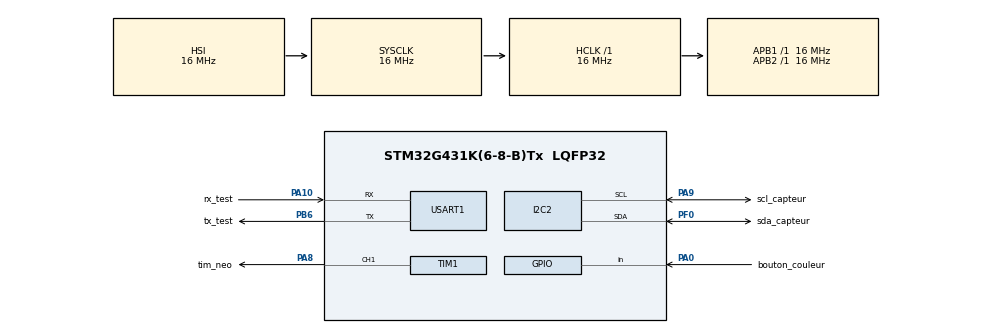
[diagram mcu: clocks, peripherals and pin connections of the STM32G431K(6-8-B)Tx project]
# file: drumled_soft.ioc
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I2C2.Timing=0x00503D58
Mcu.Family=STM32G4
Mcu.Name=STM32G431K(6-8-B)Tx
Mcu.Package=LQFP32
NVIC.PriorityGroup=NVIC_PRIORITYGROUP_4
PA0.GPIO_Label=bouton_couleur
PA0.Signal=GPIO_Input
PA10.GPIO_Label=rx_test
PA10.Mode=Asynchronous
PA10.Signal=USART1_RX
PA13.Mode=Serial_Wire
PA13.Signal=SYS_JTMS-SWDIO
PA14.Mode=Serial_Wire
PA14.Signal=SYS_JTCK-SWCLK
PA8.GPIO_Label=tim_neo
PA8.Signal=S_TIM1_CH1
PA9.GPIO_Label=scl_capteur
PA9.Mode=I2C
PA9.Signal=I2C2_SCL
PB6.GPIO_Label=tx_test
PB6.Mode=Asynchronous
PB6.Signal=USART1_TX
PF0-OSC_IN.GPIO_Label=sda_capteur
PF0-OSC_IN.Mode=I2C
PF0-OSC_IN.Signal=I2C2_SDA
ProjectManager.HeapSize=0x200
ProjectManager.StackSize=0x400
ProjectManager.TargetToolchain=STM32CubeIDE
RCC.AHBFreq_Value=16000000
RCC.APB1Freq_Value=16000000
RCC.APB1TimFreq_Value=16000000
RCC.APB2Freq_Value=16000000
RCC.APB2TimFreq_Value=16000000
RCC.CortexFreq_Value=16000000
RCC.EXTERNAL_CLOCK_VALUE=12288000
RCC.HCLKFreq_Value=16000000
RCC.HSE_VALUE=8000000
RCC.HSI48_VALUE=48000000
RCC.HSI_VALUE=16000000
RCC.LSE_VALUE=32768
RCC.SYSCLKFreq_VALUE=16000000
RCC.USBFreq_Value=64000000
RCC.VCOOutputFreq_Value=128000000
SH.S_TIM1_CH1.0=TIM1_CH1,PWM Generation1 CH1
TIM1.Channel-PWM\ Generation1\ CH1=TIM_CHANNEL_1
USART1.VirtualMode-Asynchronous=VM_ASYNC
VP_SYS_VS_DBSignals.Mode=DisableDeadBatterySignals
VP_TIM1_VS_ClockSourceINT.Mode=Internal
board=custom

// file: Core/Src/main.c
/* USER CODE BEGIN Header */
/**
  ******************************************************************************
  * @file           : main.c
  * @brief          : Main program body
  ******************************************************************************
  * @attention
  *
  * Copyright (c) 2026 STMicroelectronics.
  * All rights reserved.
  *
  * This software is licensed under terms that can be found in the LICENSE file
  * in the root directory of this software component.
  * If no LICENSE file comes with this software, it is provided AS-IS.
  *
  ******************************************************************************
  */
/* USER CODE END Header */
#include "main.h"
#include "i2c.h"
#include "tim.h"
#include "usart.h"
#include "gpio.h"

/* USER CODE BEGIN Includes */
#include "lsm6dsox.h"
#include <stdio.h>
#include "light.h"
/* USER CODE END Includes */

void SystemClock_Config(void);

int main(void)
{

  /* MCU Configuration--------------------------------------------------------*/

  /* Reset of all peripherals, Initializes the Flash interface and the Systick. */
  HAL_Init();

  /* Configure the system clock */
  SystemClock_Config();

  /* Initialize all configured peripherals */
  MX_GPIO_Init();
  MX_I2C2_Init();
  MX_USART1_UART_Init();
  MX_TIM1_Init();
  /* USER CODE BEGIN 2 */
  LSM6DSOX_Init(&hi2c2);
  AccelData_t accel;
  /* USER CODE END 2 */

  /* Infinite loop */
  /* USER CODE BEGIN WHILE */
  while (1)
  {
	  handle_button();
	  changement_couleur();

	  LSM6DSOX_ReadAccel(&hi2c2, &accel);
	  if (LSM6DSOX_DetectShock(&accel)){
		  printf("j'ai dépassé le seuil\r\n");
		  neopixel_set_color(red, green, blue);
	  }
	  else{
		  printf("toujours pas\r\n");
		  neopixel_set_color(0,0,0);
	  }
	  HAL_Delay(10);
    /* USER CODE END WHILE */

  }
}

void SystemClock_Config(void)
{
  RCC_OscInitTypeDef RCC_OscInitStruct = {0};
  RCC_ClkInitTypeDef RCC_ClkInitStruct = {0};

  /** Configure the main internal regulator output voltage
  */
  HAL_PWREx_ControlVoltageScaling(PWR_REGULATOR_VOLTAGE_SCALE1);

  /** Initializes the RCC Oscillators according to the specified parameters
  * in the RCC_OscInitTypeDef structure.
  */
  RCC_OscInitStruct.OscillatorType = RCC_OSCILLATORTYPE_HSI;
  RCC_OscInitStruct.HSIState = RCC_HSI_ON;
  RCC_OscInitStruct.HSICalibrationValue = RCC_HSICALIBRATION_DEFAULT;
  RCC_OscInitStruct.PLL.PLLState = RCC_PLL_NONE;
  if (HAL_RCC_OscConfig(&RCC_OscInitStruct) != HAL_OK)
  {
    Error_Handler();
  }

  /** Initializes the CPU, AHB and APB buses clocks
  */
  RCC_ClkInitStruct.ClockType = RCC_CLOCKTYPE_HCLK|RCC_CLOCKTYPE_SYSCLK
                              |RCC_CLOCKTYPE_PCLK1|RCC_CLOCKTYPE_PCLK2;
  RCC_ClkInitStruct.SYSCLKSource = RCC_SYSCLKSOURCE_HSI;
  RCC_ClkInitStruct.AHBCLKDivider = RCC_SYSCLK_DIV1;
  RCC_ClkInitStruct.APB1CLKDivider = RCC_HCLK_DIV1;
  RCC_ClkInitStruct.APB2CLKDivider = RCC_HCLK_DIV1;

  if (HAL_RCC_ClockConfig(&RCC_ClkInitStruct, FLASH_LATENCY_0) != HAL_OK)
  {
    Error_Handler();
  }
}

void Error_Handler(void)
{
  __disable_irq();
  while (1)
  {
  }
}
